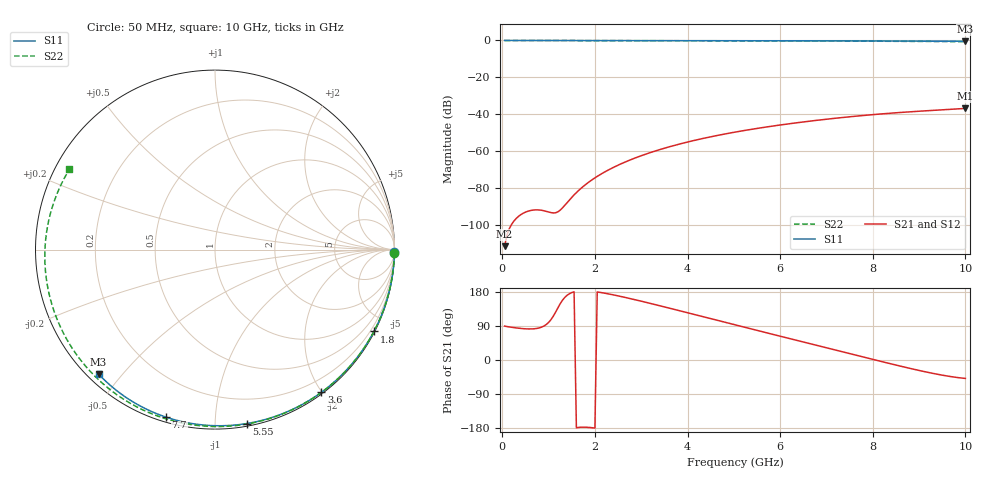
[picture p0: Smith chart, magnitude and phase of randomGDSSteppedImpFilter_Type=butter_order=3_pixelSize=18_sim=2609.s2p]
! freq	dB(S11)	phase(S11)	dB(S12)	phase(S12)
!  dB(S21)	phase(S21)	dB(S22)	phase(S22)
!S-par simulation data
#  GHz  S  DB  R 50
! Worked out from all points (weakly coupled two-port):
!   200 points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, 50 MHz to 10 GHz, reference 50 ohm
!   highest |S21| = -36.90 dB at 10 GHz (marker M1); lowest = -111.7 dB at 50 MHz (marker M2)
!   lowest |S11| = -0.4 dB at 10 GHz (marker M3), VSWR 38.76, Z = 1.53 - j21.7 ohm
!   |S11| at or under -10 dB: nowhere
!   |S22| runs from -0.7 to 0.0 dB; largest |S21 - S12| = 0
!   S11 on the Smith chart (normalised r, x): 50 MHz: open; 1.8 GHz: 0.04, -4.12; 3.6 GHz: 0.02, -1.99; 5.55 GHz: 0.02, -1.20; 7.7 GHz: 0.02, -0.75; 10 GHz: 0.03, -0.43
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0.05  -0.00 -0.8  -111.66 89.4  -111.66 89.4  -0.00 -1.2
0.45  -0.01 -6.9  -93.80 82.7  -93.80 82.7  -0.02 -10.5
0.85  -0.02 -13.0  -92.18 86.8  -92.18 86.8  -0.03 -19.7
1.7  -0.03 -25.8  -80.26 -177.4  -80.26 -177.4  -0.05 -39.0
1.75  -0.03 -26.5  -79.20 -177.2  -79.20 -177.2  -0.05 -40.1
1.8  -0.03 -27.3  -78.18 -177.4  -78.18 -177.4  -0.05 -41.2
2.1  -0.04 -31.7  -73.00 178.6  -73.00 178.6  -0.06 -47.9
2.45  -0.05 -36.8  -68.29 170.6  -68.29 170.6  -0.07 -55.5
2.9  -0.06 -43.3  -63.49 158.1  -63.49 158.1  -0.08 -65.2
3.4  -0.07 -50.5  -59.24 143.2  -59.24 143.2  -0.10 -75.7
3.6  -0.07 -53.3  -57.77 137.1  -57.77 137.1  -0.11 -79.8
4.3  -0.09 -63.0  -53.38 115.4  -53.38 115.4  -0.13 -94.0
5.05  -0.11 -73.0  -49.64 92.1  -49.64 92.1  -0.17 -108.8
5.55  -0.13 -79.6  -47.55 76.6  -47.55 76.6  -0.19 -118.5
6.1  -0.15 -86.6  -45.54 59.7  -45.54 59.7  -0.23 -129.0
6.7  -0.18 -94.1  -43.62 41.4  -43.62 41.4  -0.27 -140.5
7.2  -0.21 -100.3  -42.20 26.2  -42.20 26.2  -0.31 -150.1
7.7  -0.24 -106.3  -40.94 10.8  -40.94 10.8  -0.36 -159.9
8.35  -0.29 -114.0  -39.55 -8.9  -39.55 -8.9  -0.43 -173.0
8.8  -0.33 -119.2  -38.74 -22.1  -38.74 -22.1  -0.48 177.7
9.2  -0.37 -123.9  -38.10 -32.9  -38.10 -32.9  -0.54 169.1
10  -0.45 -133.1  -36.90 -48.6  -36.90 -48.6  -0.66 151.2
